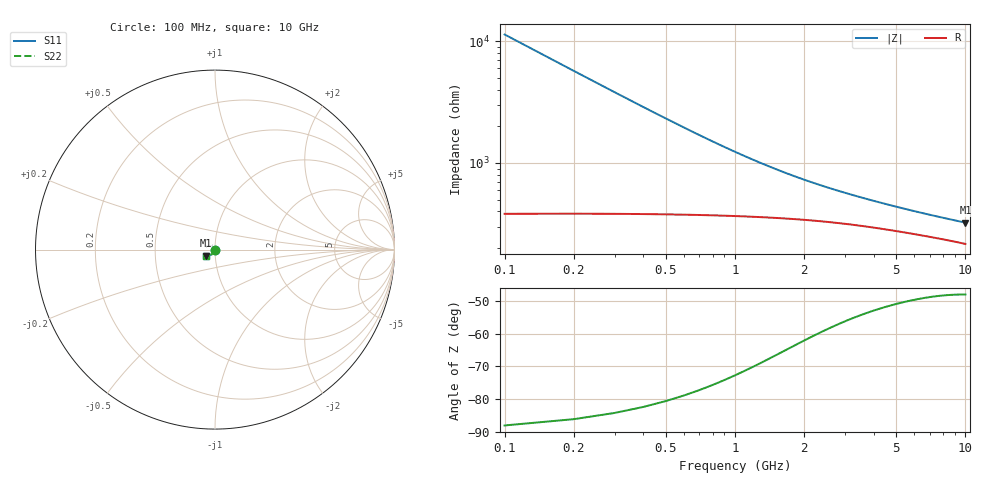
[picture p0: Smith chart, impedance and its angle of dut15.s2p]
! Touchstone file exported from HFSS 2024.1.0
!  File:  C:/UserFiles/LocalFiles/RDL_TSV_Batchsim/temp_TSV1_15_1778746708.aedt
!  Generated:  04:22:27 PM May 14, 2026
!  Design:  TSV1
!  Project:  temp_TSV1_15_1778746708
!  Setup:  Setup1
!  Solution:  Sweep
! Variables:
!  dtsv = 22.69um
!  hbump = 3um
!  htsv = 50.56um
!  lrdl = 252.1521522um
!  p = 40
!  p1 = 57.84um
!  t = 500um
!  trdl = 3um
!  wrdl = 24.89489489um
# GHz S MA R 50.000000
! Terminal data exported
! Port[1] = TSV22_T1
! Port[2] = TSV22_T2
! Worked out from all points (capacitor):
!   100 points, 100 MHz to 10 GHz, reference 50 ohm
!   read as one part in shunt: C = 140 fF near 100 MHz
!   lowest |Z| = 324 ohm at 10 GHz (marker M1)
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0.1  0.001965 -90.4  0.9999 -0.1  0.9999 -0.1  0.001965 -90.4
! Gamma 0 0 0 0
! Port Impedance 50 0 50 0
0.2  0.003919 -93.4  0.9996 -0.3  0.9996 -0.3  0.003919 -93.4
0.3  0.005853 -95.9  0.9992 -0.4  0.9992 -0.4  0.005853 -95.9
0.4  0.007756 -98.1  0.9987 -0.5  0.9987 -0.5  0.007756 -98.1
0.5  0.009619 -100.2  0.9981 -0.7  0.9981 -0.7  0.009619 -100.2
0.6  0.01143 -102.2  0.9973 -0.8  0.9973 -0.8  0.01143 -102.2
0.7  0.01319 -104.2  0.9965 -0.9  0.9965 -0.9  0.01319 -104.2
0.8  0.01489 -106.0  0.9956 -1.0  0.9956 -1.0  0.01489 -106.0
0.9  0.01652 -107.8  0.9946 -1.1  0.9946 -1.1  0.01652 -107.8
1.1  0.01959 -111.2  0.9926 -1.3  0.9926 -1.3  0.01959 -111.2
1.4  0.02369 -115.6  0.9895 -1.6  0.9895 -1.6  0.02369 -115.6
1.6  0.0261 -118.2  0.9874 -1.7  0.9874 -1.7  0.0261 -118.2
1.8  0.0283 -120.6  0.9854 -1.8  0.9854 -1.8  0.0283 -120.6
2.1  0.03122 -123.6  0.9826 -2.0  0.9826 -2.0  0.03122 -123.6
2.5  0.03457 -127.0  0.9791 -2.2  0.9791 -2.2  0.03457 -127.0
2.9  0.03743 -129.7  0.976 -2.3  0.976 -2.3  0.03743 -129.7
3.4  0.04051 -132.4  0.9726 -2.5  0.9726 -2.5  0.04051 -132.4
4.2  0.04462 -135.8  0.968 -2.8  0.968 -2.8  0.04462 -135.8
5.1  0.04841 -138.6  0.9638 -3.0  0.9638 -3.0  0.04841 -138.6
6.7  0.05368 -142.2  0.9577 -3.4  0.9577 -3.4  0.05368 -142.2
8.4  0.05788 -144.9  0.9529 -3.9  0.9529 -3.9  0.05788 -144.9
10  0.06097 -146.6  0.9495 -4.2  0.9495 -4.2  0.06097 -146.6
